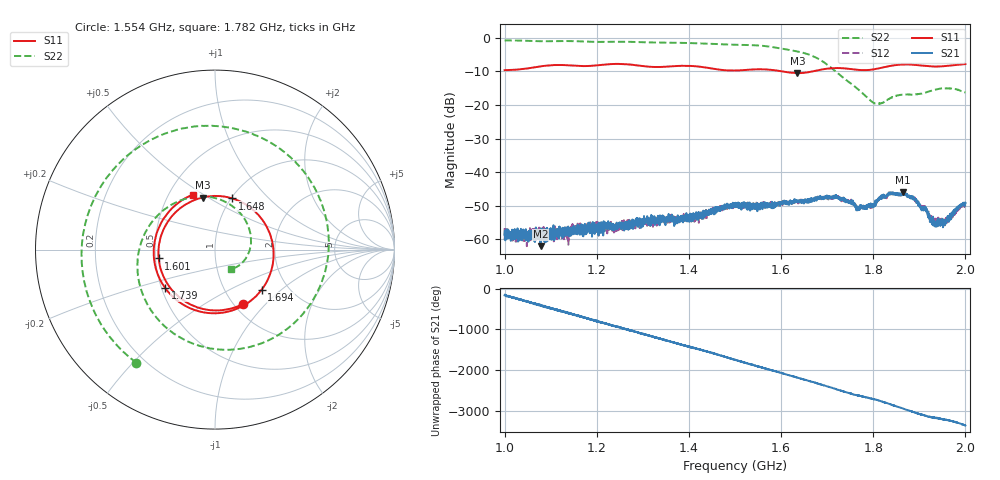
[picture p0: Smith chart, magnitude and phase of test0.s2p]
!Keysight Technologies N9923A: A.08.15
!Date: Friday, 16 February 2024 15:26:17
!Timezone: (GMT-05:00) Eastern Time (US & Canada)
!Model: N9923A
!Serial: MY52412730
!GPS Latitude:
!GPS Longitude:
!GPS TimeStamp: 0001-01-01 00:00:00Z
!GPS Seconds Since Last Read: 0
!CHECKSUM:1581206841
!Correction: S11(ON Q)S21(ON Q)S12(ON Q)S22(ON Q)
!S2P File: Measurements:S11,S21,S12,S22:
# Hz S DB R 50
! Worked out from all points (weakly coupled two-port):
!   4001 points, 1 GHz to 2 GHz, reference 50 ohm
!   highest |S21| = -45.98 dB at 1.865 GHz (marker M1); lowest = -62.1 dB at 1.078 GHz (marker M2)
!   lowest |S11| = -10.5 dB at 1.635 GHz (marker M3), VSWR 1.85, Z = 37.1 + j23.6 ohm
!   |S11| at or under -10 dB: 1.603 GHz to 1.668 GHz (64.43 MHz wide, 3.94 % of centre)
!   |S22| runs from -19.6 to -0.8 dB; largest |S21 - S12| = 0.00078
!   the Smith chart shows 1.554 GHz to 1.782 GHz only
!   S11 on the Smith chart (normalised r, x): 1.554 GHz: 1.09, -0.75; 1.601 GHz: 0.52, -0.06; 1.648 GHz: 1.01, +0.63; 1.694 GHz: 1.48, -0.75; 1.739 GHz: 0.52, -0.26; 1.782 GHz: 0.65, +0.45
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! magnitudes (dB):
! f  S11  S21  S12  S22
! 1 GHz  -9.6  -58.8  -56.7  -0.8
! 1.024 GHz  -9.5  -58.5  -59.8  -0.8
! 1.078 GHz  -8.5  -62.1  -56.9  -1.0
! 1.167 GHz  -8.4  -55.6  -56.7  -1.0
! 1.333 GHz  -8.7  -54.0  -54.7  -1.4
! 1.409 GHz  -8.4  -53.5  -53.8  -1.6
! 1.5 GHz  -9.7  -50.1  -50.1  -2.0
! 1.554 GHz  -9.3  -49.4  -49.6  -2.3
! 1.601 GHz  -10.0  -49.2  -49.7  -3.2
! 1.635 GHz  -10.5  -48.7  -49.1  -4.1
! 1.648 GHz  -10.4  -48.5  -48.2  -4.4
! 1.667 GHz  -10.0  -48.3  -48.5  -5.3
! 1.694 GHz  -9.3  -47.7  -47.7  -7.3
! 1.739 GHz  -9.1  -48.3  -48.1  -12.3
! 1.782 GHz  -9.6  -50.7  -50.8  -17.1
! 1.806 GHz  -9.2  -49.0  -48.6  -19.6
! 1.833 GHz  -8.4  -46.5  -46.6  -18.2
! 1.865 GHz  -7.9  -46.0  -46.5  -16.9
! 1.892 GHz  -8.1  -48.3  -48.2  -16.8
! 1.935 GHz  -8.5  -55.2  -54.5  -15.4
! 1.957 GHz  -8.4  -54.8  -54.6  -15.0
! 2 GHz  -7.8  -49.2  -50.1  -16.3
